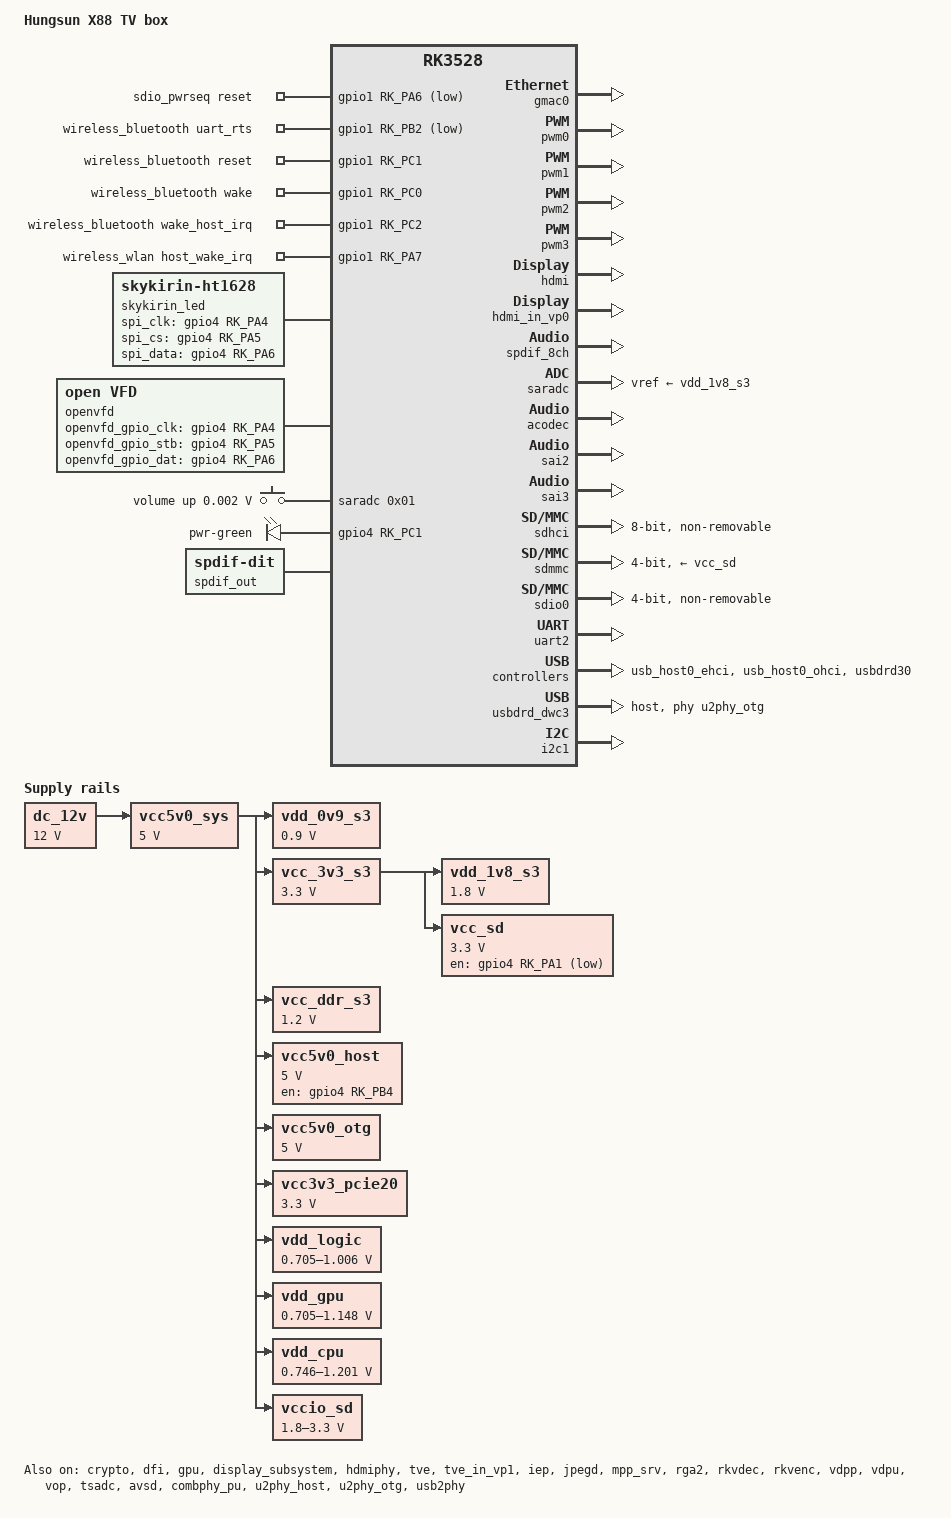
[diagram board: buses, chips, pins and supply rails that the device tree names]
// SPDX-License-Identifier: (GPL-2.0+ OR MIT)
/dts-v1/;

#include <dt-bindings/gpio/gpio.h>
#include <dt-bindings/input/rk-input.h>
#include <dt-bindings/pinctrl/rockchip.h>
#include <dt-bindings/pwm/pwm.h>
#include <dt-bindings/thermal/thermal.h>
#include "dt-bindings/usb/pd.h"
#include "rk3528.dtsi"
#include "rk3528-linux.dtsi"


/ {
	model = "Hungsun X88 TV box";
	compatible = "hungsun,x88",  "rockchip,rk3528";
	version = "1.1";

	aliases {
		ethernet0 = &gmac0;
		ethernet1 = &gmac1;
		mmc0 = &sdmmc;
		mmc1 = &sdhci;
		mmc2 = &sdio0;
	};

	chosen: chosen{
		bootargs = "earlycon=uart8250,mmio32,0xff9f0000 console=ttyFIQ0"; 
	};


	dc_12v: dc-12v {
		compatible = "regulator-fixed";
		regulator-name = "dc_12v";
		regulator-always-on;
		regulator-boot-on;
		regulator-min-microvolt = <12000000>;
		regulator-max-microvolt = <12000000>;
	};
	
	vcc5v0_sys: vcc5v0-sys {
		compatible = "regulator-fixed";
		regulator-name = "vcc5v0_sys";
		regulator-always-on;
		regulator-boot-on;
		regulator-min-microvolt = <5000000>;
		regulator-max-microvolt = <5000000>;
		vin-supply = <&dc_12v>;
	};

	vdd_0v9_s3: vdd-0v9-s3 {
		compatible = "regulator-fixed";
		regulator-name = "vdd_0v9_s3";
		regulator-always-on;
		regulator-boot-on;
		regulator-min-microvolt = <900000>;
		regulator-max-microvolt = <900000>;
		vin-supply = <&vcc5v0_sys>;
	};

	vcc_3v3_s3: vcc-3v3-s3 {
		compatible = "regulator-fixed";
		regulator-name = "vcc_3v3_s3";
		regulator-always-on;
		regulator-boot-on;
		regulator-min-microvolt = <3300000>;
		regulator-max-microvolt = <3300000>;
		vin-supply = <&vcc5v0_sys>;
	};

	vdd_1v8_s3: vdd-1v8-s3 {
		compatible = "regulator-fixed";
		regulator-name = "vdd_1v8_s3";
		regulator-always-on;
		regulator-boot-on;
		regulator-min-microvolt = <1800000>;
		regulator-max-microvolt = <1800000>;
		vin-supply = <&vcc_3v3_s3>;
	};

	vcc_ddr_s3: vcc-ddr-s3 {
		compatible = "regulator-fixed";
		regulator-name = "vcc_ddr_s3";
		regulator-always-on;
		regulator-boot-on;
		regulator-min-microvolt = <1200000>;
		regulator-max-microvolt = <1200000>;
		vin-supply = <&vcc5v0_sys>;
	};

	vcc5v0_host: vcc5v0-host-regulator {
		compatible = "regulator-fixed";
		regulator-name = "vcc5v0_host";
		regulator-boot-on;
		regulator-always-on;
		regulator-min-microvolt = <5000000>;
		regulator-max-microvolt = <5000000>;
		enable-active-high;
		gpio = <&gpio4 RK_PB4 GPIO_ACTIVE_HIGH>;
		vin-supply = <&vcc5v0_sys>;
		pinctrl-names = "default";
		pinctrl-0 = <&vcc5v0_host_en>;
	};

	vcc5v0_otg: vcc5v0-otg-regulator {
		compatible = "regulator-fixed";
		regulator-name = "vcc5v0_otg";
		regulator-min-microvolt = <5000000>;
		regulator-max-microvolt = <5000000>;
		vin-supply = <&vcc5v0_sys>;
	};

	vcc3v3_pcie20: vcc3v3-pcie20 {
		compatible = "regulator-fixed";
		regulator-name = "vcc3v3_pcie20";
		regulator-min-microvolt = <3300000>;
		regulator-max-microvolt = <3300000>;
		startup-delay-us = <5000>;
		vin-supply = <&vcc5v0_sys>;
	};

	vdd_logic: vdd-logic {
		compatible = "pwm-regulator";
		pwms = <&pwm2 0 5000 1>;
		regulator-name = "vdd_logic";
		regulator-min-microvolt = <705000>;
		regulator-max-microvolt = <1006000>;
		regulator-init-microvolt = <900000>;
		regulator-always-on;
		regulator-boot-on;
		regulator-settling-time-up-us = <250>;
		pwm-supply = <&vcc5v0_sys>;
		status = "okay";
	};

	vdd_gpu: vdd-gpu {
		compatible = "pwm-regulator";
		pwms = <&pwm0 0 5000 1>;
		regulator-name = "vdd_gpu";
		regulator-min-microvolt = <705000>;
		regulator-max-microvolt = <1148000>;
		regulator-init-microvolt = <900000>;
		regulator-always-on;
		regulator-boot-on;
		regulator-settling-time-up-us = <250>;
		pwm-supply = <&vcc5v0_sys>;
		status = "okay";
	};

	vdd_cpu: vdd-cpu {
		compatible = "pwm-regulator";
		pwms = <&pwm1 0 5000 1>;
		regulator-name = "vdd_cpu";
		regulator-min-microvolt = <746000>;
		regulator-max-microvolt = <1201000>;
		regulator-init-microvolt = <953000>;
		regulator-always-on;
		regulator-boot-on;
		regulator-settling-time-up-us = <250>;
		pwm-supply = <&vcc5v0_sys>;
		status = "okay";
	};

	vcc_sd: vcc-sd {
		compatible = "regulator-fixed";
		regulator-boot-on;
		gpio = <&gpio4 RK_PA1 GPIO_ACTIVE_LOW>;
		regulator-name = "vcc_sd";
		regulator-min-microvolt = <3300000>;
		regulator-max-microvolt = <3300000>;
		vin-supply = <&vcc_3v3_s3>;
	};

	vccio_sd: vccio-sd {
		compatible = "regulator-gpio";
		regulator-name = "vccio_sd";
		regulator-min-microvolt = <1800000>;
		regulator-max-microvolt = <3300000>;
		gpios = <&gpio4 RK_PB6 GPIO_ACTIVE_HIGH>;
		vin-supply = <&vcc5v0_sys>;
		states = <1800000 0x0 3300000 0x1>;
	};

	hdmi_sound: hdmi-sound {
		status = "okay";
		compatible = "simple-audio-card";
		simple-audio-card,format = "i2s";
		simple-audio-card,mclk-fs = <128>;
		simple-audio-card,name = "rockchip-hdmi0";
		simple-audio-card,cpu {
			sound-dai = <&sai3>;
		};
		simple-audio-card,codec {
			sound-dai = <&hdmi>;
		};
	};

	acodec_sound: acodec-sound {
		status = "okay";
		compatible = "simple-audio-card";
		simple-audio-card,name = "rk3528-acodec";
		simple-audio-card,format = "i2s";
		simple-audio-card,mclk-fs = <256>;
		simple-audio-card,cpu {
			sound-dai = <&sai2>;
		};
		simple-audio-card,codec {
			sound-dai = <&acodec>;
		};
	};

	sdio_pwrseq: sdio-pwrseq {
		compatible = "mmc-pwrseq-simple";
		pinctrl-names = "default";
		pinctrl-0 = <&wifi_enable_h &clkm1_32k_out>;
		reset-gpios = <&gpio1 RK_PA6 GPIO_ACTIVE_LOW>;
		post-power-on-delay-ms = <300>;
	};

	wireless_bluetooth: wireless-bluetooth {
		compatible = "bluetooth-platdata";
		uart_rts_gpios = <&gpio1 RK_PB2 GPIO_ACTIVE_LOW>;
		pinctrl-names = "default", "rts_gpio";
		pinctrl-0 = <&uart2m1_rtsn>;
		pinctrl-1 = <&uart2m1_gpios>;
		BT,reset_gpio    = <&gpio1 RK_PC1 GPIO_ACTIVE_HIGH>; 		//49 0x31    102
		BT,wake_gpio     = <&gpio1 RK_PC0 GPIO_ACTIVE_HIGH>;			 //  48 bt_default_wake
		BT,wake_host_irq = <&gpio1 RK_PC2 GPIO_ACTIVE_HIGH>;			//50 0x32
		status = "okay";
	};

	wireless_wlan: wireless-wlan {
		compatible = "wlan-platdata";
		rockchip,grf = <&grf>;
		/* wifi_chip_type = "AIC8801";  [00];	 AIC880, SV6160 */
		pinctrl-names = "default";
		pinctrl-0 = <&wifi_host_wake_irq>;
		WIFI,host_wake_irq = <&gpio1 RK_PA7 GPIO_ACTIVE_HIGH>;	// 39 wifi-host-wake-irq
		// WIFI,reset_gpio = <&gpio1 RK_PA6 GPIO_ACTIVE_HIGH>;  		// 38 rkwifi_wlan_reset
		status = "okay";
	};

 	dummy_codec: dummy-codec{
		#sound-dai-cells = <0x00>;
		compatible = "rockchip,dummy-codec";
		status = "disabled";
	};

	pdm_mic_array: pdm-mic-array {
		compatible = "simple-audio-card";
		simple-audio-card,name = "rockchip,pdm-mic-array";
		status = "disabled";

		simple-audio-card,codec {
			sound-dai = <&dummy_codec>;
		};

		simple-audio-card,cpu {
			sound-dai = <&pdm>;
		};
	};

	skykirin_led: skykirin-led {
        compatible = "skykirin-ht1628";
        spi_clk = <&gpio4 RK_PA4 GPIO_ACTIVE_HIGH>;
        spi_cs = <&gpio4 RK_PA5 GPIO_ACTIVE_HIGH>;
        spi_data = <&gpio4 RK_PA6 GPIO_ACTIVE_HIGH>;
        status = "okay";
    };

	openvfd {
		compatible = "open,vfd";
		dev_name = "openvfd";
		openvfd_gpio_clk = <&gpio4 RK_PA4 GPIO_ACTIVE_HIGH>;
		openvfd_gpio_stb = <&gpio4 RK_PA5 GPIO_ACTIVE_HIGH>;
		openvfd_gpio_dat = <&gpio4 RK_PA6 GPIO_ACTIVE_HIGH>;
		openvfd_chars = [04 00 01 02 03];
		openvfd_dot_bits = [00 01 02 03 04 05 06];
		openvfd_display_type = <0x03 0x00 0x00 0x00>;
		status = "okay";
	};

	adc_keys: adc-keys {
		status = "okay";
		compatible = "adc-keys";
		io-channels = <&saradc 0x01>;
		io-channel-names = "buttons";
		keyup-threshold-microvolt = <1800000>;
		poll-interval = <100>;

		button-vol-up {
			label = "volume up";
			linux,code = <0x73>;
			press-threshold-microvolt = <1750>;
		};
	};

	seekwcn_boot {
		compatible = "seekwave,sv6160";
		dma_type = <0x01>;    /*1:ADMA,2:SDMA*/
		skw_dram_path = " /usr/lib/firmware/skw/SWT6621_DRAM_SDIO.bin";
		skw_iram_path = "/usr/lib/firmware/skw/SWT6621_IRAM_SDIO.bin";
		seekwave_nv_name = "SEEKWAVE_NV_SWT6652_SHARE.bin";
		bt_antenna = <0>;   /* no BT_antenna setting */
        // seekwave_nv_name = "SEEKWAVE_NV_SWT6652.bin";
		//gpio_host_wake = <&gpio1 RK_PA6 GPIO_ACTIVE_LOW>;		// 38 rkwifi_wlan_reset
		//gpio_chip_wake = <&gpio1 RK_PC0 GPIO_ACTIVE_HIGH>;		// 48 bt_default_wake
		//gpio_chip_en   =   <&gpio1 RK_PC1 GPIO_ACTIVE_HIGH>; 		// 49 bt_default_reset
		gpio_host_wake = <&gpio1 RK_PC2 GPIO_ACTIVE_HIGH>;		// <0x24 0x12 0x00>
		gpio_chip_wake = <&gpio1 RK_PC1 GPIO_ACTIVE_HIGH>;		// <0x24 0x11 0x00>
		gpio_chip_en   =   <&gpio1 RK_PA6 GPIO_ACTIVE_HIGH>; 		// <0x24 0x06 0x00>
        pinctrl-names = "default";
		status = "disabled";
	};

	seekwcn_sv6160lite: seekwcn-sv6160lite {
		compatible = "seekwave,sv6160lite";
		dma_type = <1>;
		status = "disabled";
	};

	sky_storage: sky-storage {
		compatible = "rockchip,hgs_vendor_storage";
		status = "okay";
	};

	gpio_leds: gpio-leds {
		compatible = "gpio-leds";
		pinctrl-names = "default";
		pinctrl-0 = <&pwr_green_led>;

		pwr-green {
			gpios = <&gpio4 RK_PC1 GPIO_ACTIVE_HIGH>;
			linux,default-trigger = "heartbeat";
			default-state = "off";
			retain-state-suspended;
			retain-state-shutdown;
		};
	};

	bt_sco: bt-sco {
		#sound-dai-cells = <0x01>;
		compatible = "delta,dfbmcs320";
		status = "disabled";
	};

	bt_sound: bt-sound {
		compatible = "simple-audio-card";
		simple-audio-card,bitclock-inversion = <0x00>;
		simple-audio-card,format = "dsp_a";
		simple-audio-card,mclk-fs = <0x100>;
		simple-audio-card,name = "rockchip,bt";
		status = "disabled";

		simple-audio-card,codec {
			sound-dai = <&bt_sco 1>;
		};

		simple-audio-card,cpu {
			sound-dai = <&sai0>;
		};
	};

	spdif_out: spdif-out {
		#sound-dai-cells = <0x00>;
		compatible = "linux,spdif-dit";
		status = "okay";
	};

	spdif_sound: spdif-sound {
		compatible = "simple-audio-card";
		simple-audio-card,mclk-fs = <0x80>;
		simple-audio-card,name = "ROCKCHIP,SPDIF";
		status = "okay";

		simple-audio-card,codec {
			sound-dai = <&spdif_out>;
		};

		simple-audio-card,cpu {
			sound-dai = <&spdif_8ch>;
		};
	};

};
/*
&fiq_debugger {
    rockchip,serial-id = <0>; 
    rockchip,signal-irq = <188>;
    rockchip,wake-irq = <0x0>;
    interrupts = <0x0 0x121 0x4>, <0x0 0x8f 0x4>;
    interrupt-names = "fiq", "wakeup";
    pinctrl-names = "default";
    pinctrl-0 = <&uart0m1_xfer>; 
    status = "disabled";
}
*/

&reserved_memory {
	cma {
		compatible = "shared-dma-pool";
		linux,cma-default;
		reusable;
		size = <0x00 0x800000>;
	};
};

&gmac0 {
	tx_delay = <0x30>;
	/* rx_delay = <0x3f>; */
	status = "okay";
};

&pwm0 {
	status = "okay";
};

&pwm1 {
	status = "okay";
};

&pwm2 {
	status ="okay";
};

&pwm3 {
	// compatible = "rockchip,remotectl-pwm";
	compatible =  "rockchip,remotectl-pwm", "rockchip,remotectl-pwm-v4";
	pinctrl-names = "default";
	pinctrl-0 = <&pwm3m0_pins>;
	interrupts = <GIC_SPI 53 IRQ_TYPE_LEVEL_HIGH GIC_SPI 54 IRQ_TYPE_LEVEL_HIGH>;
	remote_pwm_id = <3>;
	handle_cpu_id = <1>;
	remote_support_psci = <0>;
	wakeup-source;
	status = "okay";
	ir_key5 {
		rockchip,usercode = <0xf708>;
		rockchip,key_table = <0xf5 0x71 0xfc 0x8d 0xf4 0x74 0x8c 0xb7 0x8b 0xb8 0x8a 0xb9 0x89 0xba 0xfa 0xbb 0xbd 0x66 0xed 0x67 0xea 0x69 0xe1 0xe8 0xeb 0x6a 0xbe 0x9e 0xec 0x6c 0xe8 0x8b 0xf1 0x73 0xef 0x68 0xe3 0x72 0xee 0x6d 0x8f 0x184 0x8e 0x80>;
	};

	ir_key6 {
		rockchip,usercode = <0xfe01>;
		rockchip,key_table = <0xec 0xe8 0xe6 0x9e 0xe9 0x67 0xe5 0x6c 0xae 0x69 0xaf 0x6a 0xee 0x66 0xe7 0x73 0xef 0x72 0xbf 0x74 0xbe 0x71 0xb3 0x8b 0xff 0x184 0xb1 0x02 0xf2 0x03 0xf3 0x04 0xb5 0x05 0xf6 0x06 0xf7 0x07 0xb9 0x08 0xfa 0x09 0xfb 0x0a 0xfe 0x0b 0xbb 0xbd 0xaa 0xa8 0xa5 0xa4 0xad 0x80 0xab 0xd0 0xbd 0x0e 0xbc 0x8d 0xf0 0xb8>;
	};

	ir_key12 {
		rockchip,usercode = <0x7f80>;
		rockchip,key_table = <0xec 0xe8 0xd8 0x9e 0xc7 0x67 0xbf 0x6c 0xc8 0x69 0xc6 0x6a 0x8c 0x66 0x78 0x73 0x76 0x72 0x7e 0x74 0xed 0x74 0x7c 0x8b 0xb7 0x184>;
	};

	ir_key13 {
		rockchip,usercode = <0x4040>;
		rockchip,key_table = <0xe5 0x66 0xbd 0x9e 0xba 0x8b 0xf2 0xe8 0xf4 0x67 0xf1 0x6c 0xef 0x69 0xee 0x6a 0xe3 0x72 0xea 0x73 0xe8 0x72 0xe7 0x73 0xbc 0x71 0xb2 0x74 0x4d 0x74 0xb8 0x184 0xbb 0x184 0xac 0xb7 0xa4 0xb8 0xa8 0xb9 0xab 0xba 0xe0 0x7b 0xe1 0x7a 0xfe 0x02 0xfd 0x03 0xfc 0x04 0xfb 0x05 0xfa 0x06 0xf9 0x07 0xf8 0x08 0xf7 0x09 0xf6 0x0a 0xff 0x0b 0xf0 0x39 0xf3 0x0e>;
	};

	ir_key14 {
		rockchip,usercode = <0x707>;
		rockchip,key_table = <0xfd 0x74 0xc1 0xa4 0xec 0x184 0x9f 0x67 0x9a 0x69 0x97 0xe8 0x9d 0x6a 0x9e 0x6c 0xd2 0x66 0xe5 0x8b 0xed 0xa8 0xef 0xd0 0x77 0xe7 0xf8 0x73 0xf4 0x72 0xa3 0x0e 0xf0 0x71>;
	};

	ir_key15 {
		rockchip,usercode = <0xdf00>;
		rockchip,key_table = <0xe3 0x74 0xb4 0x3f 0xfe 0x43 0xa2 0x73 0xb0 0x42 0xa0 0x44 0xa3 0x72 0xbd 0x66 0xf5 0x9e 0xe5 0x67 0xb8 0x69 0xf9 0xe8 0xf8 0x6a 0xb7 0x6c 0xfc 0x184 0xe7 0x8b 0xab 0x02 0xe9 0x03 0xea 0x04 0xaf 0x05 0xed 0x06 0xee 0x07 0xb3 0x08 0xf1 0x09 0xf2 0x0a 0xbe 0xe3 0xf3 0x0b 0xef 0x0e 0x1c 0x74 0x1a 0x67 0x47 0x69 0x06 0xe8 0x07 0x6a 0x48 0x6c 0x42 0x66 0x18 0x8b 0x5c 0x72 0x5d 0x73>;
	};

	ir_key16 {
		rockchip,usercode = <0x807f>;
		rockchip,key_table = <0x7e 0x74>;
	};

	ir_key17 {
		rockchip,usercode = <0xfd02>;
		rockchip,key_table = <0xf2 0xe8 0xec 0x9e 0xf6 0x67 0xee 0x6c 0xf5 0x69 0xf1 0x6a 0xef 0x66 0xf8 0x73 0xf9 0x72 0xf7 0x74 0xf4 0x71 0xf3 0x8b 0xbf 0x184 0xeb 0x02 0xea 0x03 0xe9 0x04 0xe7 0x05 0xe6 0x06 0xe5 0x07 0xe3 0x08 0xe2 0x09 0xe1 0x0a 0xbe 0x0b 0xbd 0x0e 0xe4 0x43 0xd4 0x44 0xf0 0x42 0xfb 0x7a 0xfa 0x7b 0xff 0xb7 0xfe 0xb8 0xfd 0xb9 0xfc 0xba>;
	};

	ir_key18 {
		rockchip,usercode = <0xef10>;
		rockchip,key_table = <0xa2 0x74 0xe8 0x73 0xec 0x72 0xa6 0x8d 0xa5 0x184 0xff 0x9e 0xba 0x67 0xf8 0x69 0xbe 0xe8 0xfe 0x6a 0xaa 0x6c 0xb9 0x66 0xfa 0x8b 0xe5 0xa8 0xa7 0xa4 0xe2 0xd0 0xa0 0x4d 0xb0 0x0b 0xa1 0x0e 0xaf 0x02 0xad 0x03 0xef 0x04 0xb3 0x05 0xb5 0x06 0xee 0x07 0xf0 0x08 0xb1 0x09 0xf2 0x0a>;
	};

	ir_key20 {
		rockchip,usercode = <0xf709>;
		rockchip,key_table = <0xf5 0x74 0xdd 0xba 0xff 0x67 0xfe 0x6c 0xfd 0x6a 0xfc 0x69 0xe0 0xe8 0xf3 0x66 0xb5 0x184 0xe3 0x9e 0x79 0xb7 0x8d 0xb9 0xa7 0x73 0xa2 0x72>;
	};
};

&cpu0 {
	cpu-supply = <&vdd_cpu>;
};

&cpu1 {
	cpu-supply = <&vdd_cpu>;
};

&cpu2 {
	cpu-supply = <&vdd_cpu>;
};

&cpu3 {
	cpu-supply = <&vdd_cpu>;
};

&crypto {
	status = "okay";
};

&dfi {
	status = "okay";
};

&dmc {
	center-supply = <&vdd_logic>;
	status = "disabled";
};

&gpu {
	mali-supply = <&vdd_gpu>;
	status = "okay";
};

&gpu_bus {
	bus-supply = <&vdd_logic>;
	status = "disabled";
};

&display_subsystem {
	status = "okay";
};

&hdmi {
	status = "okay";
};

&hdmi_in_vp0 {
	status = "okay";
};

&hdmiphy {
	status = "okay";
};

&tve {
	status = "okay";
};

&spdif_8ch {
	status = "okay";
};

&tve_in_vp1 {
	status = "okay";
};

&iep {
	status = "okay";
};

&iep_mmu {
	status = "okay";
};

&jpegd {
	status = "okay";
};

&jpegd_mmu {
	status = "okay";
};

&mpp_srv {
	status = "okay";
};

&rga2 {
	status = "okay";
};

&rga2_mmu {
	status = "okay";
};

&rkvdec {
	status = "okay";
};

&rkvdec_mmu {
	status = "okay";
};

&rkvenc {
	status = "okay";
};

&rkvenc_mmu {
	status = "okay";
};

&rkvtunnel {
	status = "disabled";
};

&rockchip_suspend {
	status = "okay";
	rockchip,sleep-debug-en = <1>;
	rockchip,virtual-poweroff = <1>;
	rockchip,sleep-mode-config = <
		(0
		| RKPM_SLP_ARMPD
		)
	>;
	rockchip,wakeup-config = <
		(0
		| RKPM_CPU0_WKUP_EN
		| RKPM_GPIO_WKUP_EN
		)
	>;
	rockchip,pwm-regulator-config = <
		(0
		| RKPM_PWM0_M0_REGULATOR_EN
		| RKPM_PWM1_M0_REGULATOR_EN
		)
	>;
};

&vdpp {
	status = "okay";
};

&vdpu {
	status = "okay";
};

&vdpu_mmu {
	status = "okay";
};

&vop {
	status = "okay";
};

&vop_mmu {
	status = "okay";
};

&tsadc {
	status = "okay";
};

&saradc {
	status = "okay";
	vref-supply = <&vdd_1v8_s3>;
};

&acodec {
	pa-ctl-gpios = <&gpio0 RK_PA0 GPIO_ACTIVE_HIGH>;
	status = "okay";
};

&avsd {
	status = "okay";
};

&sai2 {
	status = "okay";
};

&sai3 {
	status = "okay";
};

&sdhci {
	bus-width = <8>;
	no-sd;
	no-sdio;
	non-removable;
	mmc-hs400-1_8v;
	mmc-hs400-enhanced-strobe;
	max-frequency = <150000000>;
	supports-emmc;
	fixed-emmc-driver-type = <0x04>;
	status = "okay";
};

&sdmmc {
	bus-width = <4>;
	cap-mmc-highspeed;
	cap-sd-highspeed;
	disable-wp;
	max-frequency = <50000000>;
	pinctrl-names = "default";
	pinctrl-0 = <&sdmmc_clk &sdmmc_cmd &sdmmc_det &sdmmc_bus4>;
	rockchip,default-sample-phase = <90>;
	supports-sd;
	vqmmc-supply = <&vccio_sd>;
	vmmc-supply = <&vcc_sd>;
	status = "okay";
};

&sdio0 {
	max-frequency = <150000000>;
	no-sd;
	no-mmc;
	supports-sdio;
	bus-width = <4>;
	disable-wp;
	cap-sd-highspeed;
	cap-sdio-irq;
	keep-power-in-suspend;
	non-removable;
	mmc-pwrseq = <&sdio_pwrseq>;
	pinctrl-names = "default";
	pinctrl-0 = <&sdio0_bus4 &sdio0_cmd &sdio0_clk>;
	/delete-property/ rockchip,use-v2-tuning;
	sd-uhs-sdr104;
	status = "okay";
};


&combphy_pu {
	status = "okay";
};

&uart0 {
	pinctrl-names = "default";
	pinctrl-0 = <&uart0m0_xfer>;
	status = "disabled";
};

&uart2 {
	pinctrl-names = "default";
	pinctrl-0 = <&uart2m1_xfer &uart2m1_ctsn>;
	status = "okay";
};

&pcie2x1 {
	reset-gpios = <&gpio1 RK_PA2 GPIO_ACTIVE_HIGH>;
	vpcie3v3-supply = <&vcc3v3_pcie20>;
	status = "disabled";
};

&u2phy_host {
	phy-supply = <&vcc5v0_host>;
	status = "okay";
};

&u2phy_otg {
	vbus-supply = <&vcc5v0_otg>;
	status = "okay";
};

&usb2phy {
	status = "okay";
};

&usb_host0_ehci {
	status = "okay";
};

&usb_host0_ohci {
	status = "okay";
};

&usbdrd30 {
	status = "okay";
};

&usbdrd_dwc3 {
	dr_mode = "host";
	extcon = <&usb2phy>;
	phys = <&u2phy_otg>;
	phy-names = "usb2-phy";
	interrupts = <GIC_SPI 152 IRQ_TYPE_LEVEL_HIGH>;
	resets = <&cru SRST_ARESETN_USB3OTG>;
	reset-names = "usb3-otg";
	maximum-speed = "high-speed";
	snps,dis_u2_susphy_quirk;
	snps,usb2-lpm-disable;
	status = "okay";
};

&i2c1 {
	status = "okay";
	pinctrl-names = "default";
	pinctrl-0 = <&i2c1m0_xfer>;
	status = "okay";

	hym8563: hym8563@51 {
		compatible = "haoyu,hym8563";
		pinctrl-names = "default";
		pinctrl-0 = <&hym8563_irq>;
		// irq_gpio = <&gpio4 RK_PB2 0x02>;
		interrupt-parent = <&gpio4>;
		interrupts = <RK_PB2 IRQ_TYPE_EDGE_FALLING>;
		wakeup-source;
		#clock-cells = <0>;
		status = "disabled";    /* not avaliable on most boards, enabled by overlay */
	};
};

&pinctrl {
	usb {
		vcc5v0_host_en: vcc5v0-host-en {
			rockchip,pins = <4 RK_PB4 RK_FUNC_GPIO &pcfg_pull_none>;
		};
	};

	sdio-pwrseq {
		wifi_enable_h: wifi-enable-h {
			rockchip,pins = <1 RK_PA6 RK_FUNC_GPIO &pcfg_pull_none>;
		};
	};

	wireless-wlan {
		wifi_host_wake_irq: wifi-host-wake-irq {
			rockchip,pins = <1 RK_PA7 RK_FUNC_GPIO &pcfg_pull_down>;
		};
	};

	wireless-bluetooth {
		uart2m1_gpios: uart2m1-gpios {
			rockchip,pins = <1 RK_PB2 RK_FUNC_GPIO &pcfg_pull_none>;
		};
	};

	hym8563 {
		hym8563_irq: hym8563-irq {
			rockchip,pins = <4 RK_PB2 RK_FUNC_GPIO &pcfg_pull_none>;
			irq_gpio = <&gpio4 RK_PB2 IRQ_TYPE_EDGE_FALLING>;	
		};
	};

	gpio-leds {
		pwr_green_led: pwr-green-led {
			rockchip,pins = <4 RK_PC1 RK_FUNC_GPIO &pcfg_pull_none>;
		};
	};
};



